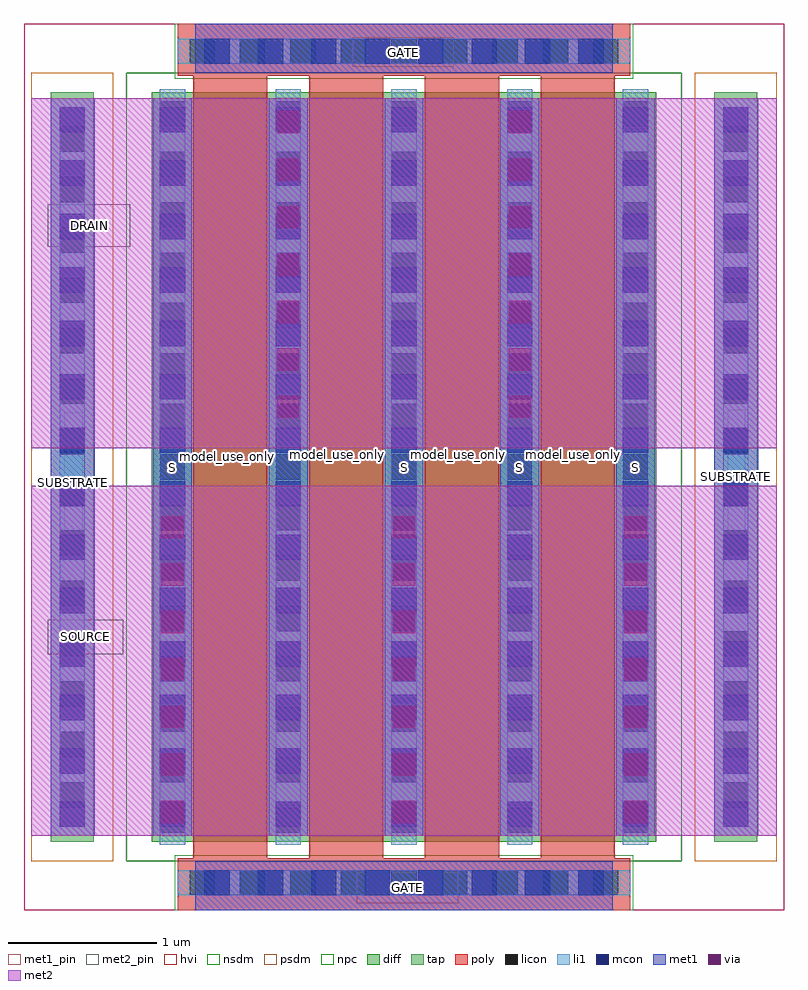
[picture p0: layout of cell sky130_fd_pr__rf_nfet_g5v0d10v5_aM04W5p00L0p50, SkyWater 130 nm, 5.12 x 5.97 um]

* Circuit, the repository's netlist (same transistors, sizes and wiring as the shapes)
* Copyright 2020 The SkyWater PDK Authors
*
* Licensed under the Apache License, Version 2.0 (the "License");
* you may not use this file except in compliance with the License.
* You may obtain a copy of the License at
*
*     https://www.apache.org/licenses/LICENSE-2.0
*
* Unless required by applicable law or agreed to in writing, software
* distributed under the License is distributed on an "AS IS" BASIS,
* WITHOUT WARRANTIES OR CONDITIONS OF ANY KIND, either express or implied.
* See the License for the specific language governing permissions and
* limitations under the License.
*
* SPDX-License-Identifier: Apache-2.0


.subckt sky130_fd_pr__rf_nfet_g5v0d10v5_aM04W5p00L0p50 DRAIN GATE SOURCE SUBSTRATE
X0 DRAIN GATE SOURCE SUBSTRATE sky130_fd_pr__nfet_g5v0d10v5 w=5.05e+06u l=500000u
X1 DRAIN GATE SOURCE SUBSTRATE sky130_fd_pr__nfet_g5v0d10v5 w=5.05e+06u l=500000u
X2 SOURCE GATE DRAIN SUBSTRATE sky130_fd_pr__nfet_g5v0d10v5 w=5.05e+06u l=500000u
X3 SOURCE GATE DRAIN SUBSTRATE sky130_fd_pr__nfet_g5v0d10v5 w=5.05e+06u l=500000u
.ends

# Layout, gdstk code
import gdstk
lib = gdstk.Library(unit=1e-6, precision=1e-09)
def R(c, l, rs):  # rectangles x0, y0, x1, y1
    for r in rs: c.add(gdstk.rectangle(r[:2], r[2:], *l))
def A(c, l, x, y, w, h, nx, ny, dx, dy):  # array of equal rectangles
    R(c, l, [(x+i*dx, y+j*dy, x+i*dx+w, y+j*dy+h) for i in range(nx) for j in range(ny)])
diff = (65, 20)
tap = (65, 44)
poly = (66, 20)
licon = (66, 44)
li1 = (67, 20)
mcon = (67, 44)
met1_pin = (68, 16)
met1 = (68, 20)
via = (68, 44)
met2_pin = (69, 16)
met2 = (69, 20)
hvi = (75, 20)
nsdm = (93, 44)
psdm = (94, 20)
npc = (95, 20)

sky130_fd_pr__rf_nfet_g5 = lib.new_cell('sky130_fd_pr__rf_nfet_g5v0d10v5_aM04W5p00L0p50')
R(sky130_fd_pr__rf_nfet_g5, diff, [(0.86,0.46,4.26,5.51)])
R(sky130_fd_pr__rf_nfet_g5, tap, [(0.18,0.46,0.47,5.51), (4.65,0.46,4.94,5.51)])
A(sky130_fd_pr__rf_nfet_g5, poly, 1.14, 0.35, 0.5, 5.27, 4, 1, 0.78, 0)
R(sky130_fd_pr__rf_nfet_g5, poly, [(1.035,0,4.085,0.35), (1.035,5.62,4.085,5.97)])
A(sky130_fd_pr__rf_nfet_g5, licon, 1.115, 0.1, 0.17, 0.17, 9, 2, 0.34, 5.6)
A(sky130_fd_pr__rf_nfet_g5, licon, 0.915, 0.52, 0.17, 0.17, 5, 15, 0.78, 0.34)
A(sky130_fd_pr__rf_nfet_g5, licon, 0.24, 0.69, 0.17, 0.17, 1, 14, 0, 0.34)
A(sky130_fd_pr__rf_nfet_g5, licon, 4.71, 0.69, 0.17, 0.17, 1, 14, 0, 0.34)
A(sky130_fd_pr__rf_nfet_g5, li1, 0.915, 0.44, 0.17, 5.09, 5, 1, 0.78, 0)
A(sky130_fd_pr__rf_nfet_g5, li1, 0.915, 1.64, 0.17, 2.69, 5, 1, 0.78, 0)
R(sky130_fd_pr__rf_nfet_g5, li1, [(1.035,0.1,4.085,0.27), (1.215,0.1,3.905,0.27), (0.24,0.56,0.41,0.61), (4.71,0.56,4.88,0.61), (0.24,0.61,0.41,5.36), (4.71,0.61,4.88,5.36), (0.24,1.63,0.41,4.34), (4.71,1.63,4.88,4.34), (0.24,5.36,0.41,5.41), (4.71,5.36,4.88,5.41), (1.035,5.7,4.085,5.87), (1.215,5.7,3.905,5.87)])
A(sky130_fd_pr__rf_nfet_g5, mcon, 1.215, 0.1, 0.17, 0.17, 8, 2, 0.36, 5.6)
A(sky130_fd_pr__rf_nfet_g5, mcon, 0.24, 0.56, 0.17, 0.17, 1, 14, 0, 0.36)
A(sky130_fd_pr__rf_nfet_g5, mcon, 0.915, 0.56, 0.17, 0.17, 5, 14, 0.78, 0.36)
A(sky130_fd_pr__rf_nfet_g5, mcon, 4.71, 0.56, 0.17, 0.17, 1, 14, 0, 0.36)
R(sky130_fd_pr__rf_nfet_g5, met1_pin, [(2.24,0.045,2.925,0.255), (0.27,2.4,0.395,3.355), (4.74,2.47,4.86,3.37), (2.215,5.68,2.895,5.88)])
A(sky130_fd_pr__rf_nfet_g5, met1, 0.87, 0.5, 0.26, 4.97, 5, 1, 0.78, 0)
A(sky130_fd_pr__rf_nfet_g5, met1, 0.87, 0.5, 0.26, 2.24, 3, 1, 1.56, 0)
R(sky130_fd_pr__rf_nfet_g5, met1, [(1.155,0,3.965,0.33), (0.18,0.5,0.475,5.47), (4.65,0.5,4.945,5.47), (1.65,3.23,1.91,5.47), (3.21,3.23,3.47,5.47), (1.155,5.64,3.965,5.97)])
A(sky130_fd_pr__rf_nfet_g5, via, 0.925, 0.585, 0.15, 0.15, 3, 7, 1.56, 0.32)
A(sky130_fd_pr__rf_nfet_g5, via, 1.705, 3.315, 0.15, 0.15, 1, 7, 0, 0.32)
A(sky130_fd_pr__rf_nfet_g5, via, 3.265, 3.315, 0.15, 0.15, 1, 7, 0, 0.32)
R(sky130_fd_pr__rf_nfet_g5, met2_pin, [(0.16,1.725,0.67,1.955), (0.16,4.47,0.715,4.755)])
A(sky130_fd_pr__rf_nfet_g5, met2, 0.87, 0.5, 0.26, 2.24, 3, 1, 1.56, 0)
R(sky130_fd_pr__rf_nfet_g5, met2, [(0.05,0.5,5.07,2.86), (0.05,3.11,5.07,5.47), (1.65,3.23,1.91,5.47), (3.21,3.23,3.47,5.47)])
R(sky130_fd_pr__rf_nfet_g5, hvi, [(0,0,5.12,5.97)])
R(sky130_fd_pr__rf_nfet_g5, nsdm, [(0.69,0.33,4.43,5.64)])
R(sky130_fd_pr__rf_nfet_g5, psdm, [(0.05,0.33,0.6,5.64), (4.52,0.33,5.07,5.64)])
R(sky130_fd_pr__rf_nfet_g5, npc, [(1.015,0,4.105,0.37), (1.015,5.6,4.105,5.97)])
sky130_fd_pr__rf_nfet_g5.add(gdstk.Label('model_use_only', (3.705,3.07), layer=66, texttype=83))
sky130_fd_pr__rf_nfet_g5.add(gdstk.Label('model_use_only', (2.115,3.07), layer=66, texttype=83))
sky130_fd_pr__rf_nfet_g5.add(gdstk.Label('model_use_only', (2.925,3.07), layer=66, texttype=83))
sky130_fd_pr__rf_nfet_g5.add(gdstk.Label('model_use_only', (1.37,3.055), layer=66, texttype=83))
sky130_fd_pr__rf_nfet_g5.add(gdstk.Label('S', (1,2.985), layer=83, texttype=44))
sky130_fd_pr__rf_nfet_g5.add(gdstk.Label('S', (1,2.985), layer=83, texttype=44))
sky130_fd_pr__rf_nfet_g5.add(gdstk.Label('S', (1.78,2.985), layer=83, texttype=44))
sky130_fd_pr__rf_nfet_g5.add(gdstk.Label('D', (1.78,2.985), layer=83, texttype=44))
sky130_fd_pr__rf_nfet_g5.add(gdstk.Label('S', (2.56,2.985), layer=83, texttype=44))
sky130_fd_pr__rf_nfet_g5.add(gdstk.Label('S', (2.56,2.985), layer=83, texttype=44))
sky130_fd_pr__rf_nfet_g5.add(gdstk.Label('S', (3.34,2.985), layer=83, texttype=44))
sky130_fd_pr__rf_nfet_g5.add(gdstk.Label('D', (3.34,2.985), layer=83, texttype=44))
sky130_fd_pr__rf_nfet_g5.add(gdstk.Label('S', (4.12,2.985), layer=83, texttype=44))
sky130_fd_pr__rf_nfet_g5.add(gdstk.Label('DRAIN', (0.44,4.61), layer=69, texttype=5))
sky130_fd_pr__rf_nfet_g5.add(gdstk.Label('SOURCE', (0.415,1.84), layer=69, texttype=5))
sky130_fd_pr__rf_nfet_g5.add(gdstk.Label('SUBSTRATE', (4.8,2.92), layer=68, texttype=5))
sky130_fd_pr__rf_nfet_g5.add(gdstk.Label('SUBSTRATE', (0.335,2.88), layer=68, texttype=5))
sky130_fd_pr__rf_nfet_g5.add(gdstk.Label('GATE', (2.585,0.15), layer=68, texttype=5))
sky130_fd_pr__rf_nfet_g5.add(gdstk.Label('GATE', (2.555,5.78), layer=68, texttype=5))

lib.write_gds('sky130_fd_pr__rf_nfet_g5v0d10v5_aM04W5p00L0p50.gds')
